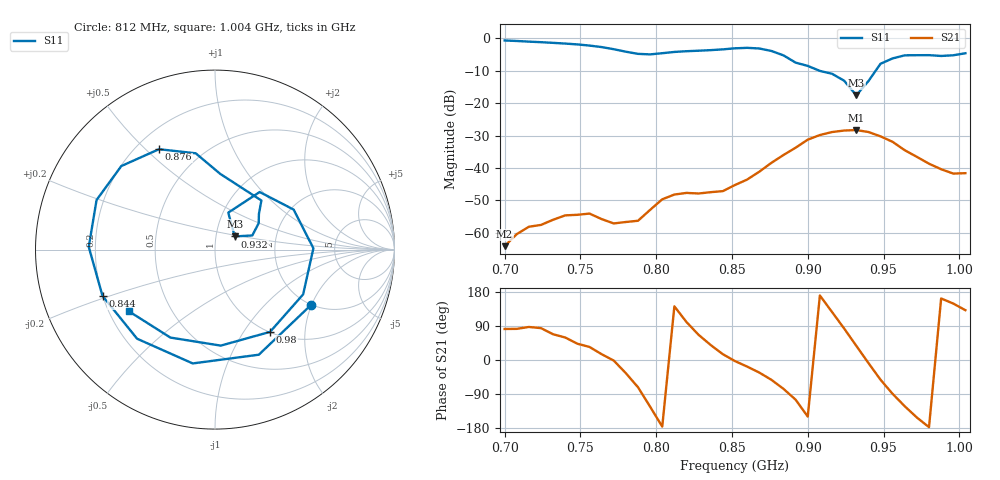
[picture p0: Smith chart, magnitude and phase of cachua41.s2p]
# Hz S RI R 50
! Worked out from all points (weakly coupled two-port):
!   39 points, 700 MHz to 1.004 GHz, reference 50 ohm
!   highest |S21| = -28.29 dB at 932 MHz (marker M1); lowest = -64.1 dB at 700 MHz (marker M2)
!   lowest |S11| = -17.6 dB at 932 MHz (marker M3), VSWR 1.31, Z = 61.6 + j9.2 ohm
!   |S11| at or under -10 dB: 907.8 MHz to 944.8 MHz (36.93 MHz wide, 3.99 % of centre)
!   S12 and S22 are empty: the file has one direction only
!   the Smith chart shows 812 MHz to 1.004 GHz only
!   S11 on the Smith chart (normalised r, x): 812 MHz: 2.00, -1.99; 844 MHz: 0.20, -0.19; 876 MHz: 0.29, +0.55; 932 MHz: 1.23, +0.18; 980 MHz: 1.01, -1.33; 1.004 GHz: 0.28, -0.30
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7e8  0.7651 0.529  8.81e-05 0.000614  0 0  0 0
7.24e8  0.8349 -0.2611  0.000136 0.00131  0 0  0 0
7.4e8  0.4446 -0.704  0.000945 0.0016  0 0  0 0
7.56e8  -0.1963 -0.7501  0.00163 0.00112  0 0  0 0
7.72e8  -0.655 -0.1888  0.00139 -3.66e-05  0 0  0 0
7.8e8  -0.578 0.2341  0.0012 -0.000836  0 0  0 0
7.88e8  -0.2247 0.5321  0.000478 -0.00146  0 0  0 0
7.96e8  0.2629 0.5021  -0.00123 -0.00189  0 0  0 0
8.04e8  0.5735 0.1433  -0.00327 -0.000241  0 0  0 0
8.12e8  0.5371 -0.3065  -0.00305 0.00242  0 0  0 0
8.28e8  -0.1242 -0.6342  0.00162 0.0037  0 0  0 0
8.44e8  -0.6268 -0.258  0.00423 0.00116  0 0  0 0
8.52e8  -0.7033 0.0152  0.00545 -0.000272  0 0  0 0
8.76e8  -0.3118 0.5594  0.00734 -0.00948  0 0  0 0
9e8  0.2584 0.2736  -0.0235 -0.014  0 0  0 0
9.08e8  0.2447 0.1985  -0.0318 0.00547  0 0  0 0
9.32e8  0.1102 0.0733  0.0305 0.0234  0 0  0 0
9.48e8  0.249 0.3208  0.0189 -0.0242  0 0  0 0
9.56e8  0.4381 0.2229  0.000271 -0.0253  0 0  0 0
9.64e8  0.5482 0.00727  -0.00998 -0.0159  0 0  0 0
9.8e8  0.3069 -0.4583  -0.0116 -0.000558  0 0  0 0
1.004e9  -0.4793 -0.344  -0.0055 0.00623  0 0  0 0
